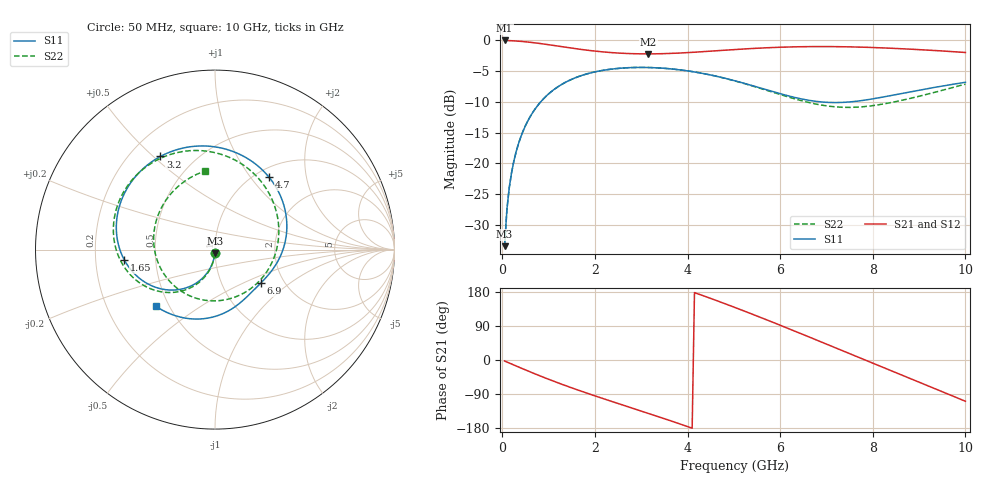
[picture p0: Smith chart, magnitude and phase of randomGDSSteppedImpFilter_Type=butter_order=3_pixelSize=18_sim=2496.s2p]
! freq	dB(S11)	phase(S11)	dB(S12)	phase(S12)
!  dB(S21)	phase(S21)	dB(S22)	phase(S22)
!S-par simulation data
#  GHz  S  DB  R 50
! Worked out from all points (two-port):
!   200 points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, 50 MHz to 10 GHz, reference 50 ohm
!   highest |S21| = 0.00 dB at 50 MHz (marker M1); lowest = -2.2 dB at 3.15 GHz (marker M2)
!   |S21| within 3 dB of the highest: start of sweep to end of sweep
!   lowest |S11| = -33.5 dB at 50 MHz (marker M3), VSWR 1.04, Z = 49.9 - j2.11 ohm
!   |S11| at or under -10 dB: start of sweep to 829.4 MHz; 6.88 GHz to 7.51 GHz (630.3 MHz wide, 8.76 % of centre)
!   |S22| runs from -33.5 to -4.4 dB; largest |S21 - S12| = 0
!   S11 on the Smith chart (normalised r, x): 50 MHz: 1.00, -0.04; 1.65 GHz: 0.33, -0.05; 3.2 GHz: 0.32, +0.53; 4.7 GHz: 1.14, +1.24; 6.9 GHz: 1.52, -0.63; 10 GHz: 0.42, -0.34
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0.05  -33.47 -92.8  -0.00 -2.7  -0.00 -2.7  -33.45 -92.7
0.1  -27.47 -95.7  -0.01 -5.3  -0.01 -5.3  -27.47 -95.5
0.2  -21.52 -101.4  -0.05 -10.6  -0.05 -10.6  -21.51 -100.7
0.45  -14.73 -115.0  -0.18 -23.6  -0.18 -23.6  -14.71 -113.4
1.05  -8.38 -145.6  -0.75 -53.2  -0.75 -53.2  -8.38 -141.9
1.65  -5.87 -173.6  -1.41 -80.0  -1.41 -80.0  -5.86 -167.7
1.75  -5.62 -178.0  -1.51 -84.3  -1.51 -84.3  -5.61 -171.7
2.4  -4.63 154.1  -2.00 -110.8  -2.00 -110.8  -4.63 163.1
3.15  -4.40 122.5  -2.19 -140.6  -2.19 -140.6  -4.40 135.2
3.2  -4.42 120.3  -2.19 -142.7  -2.19 -142.7  -4.41 133.4
3.4  -4.49 111.8  -2.17 -150.7  -2.17 -150.7  -4.48 125.9
4.1  -5.07 80.9  -1.94 -180.0  -1.94 -180.0  -5.06 98.8
4.7  -5.96 53.4  -1.64 153.5  -1.64 153.5  -5.96 74.1
5.05  -6.62 37.2  -1.47 137.4  -1.47 137.4  -6.64 58.8
5.9  -8.45 -0.5  -1.13 96.7  -1.13 96.7  -8.57 17.5
6.3  -9.25 -16.2  -1.04 77.0  -1.04 77.0  -9.47 -4.8
6.7  -9.84 -30.1  -1.00 57.0  -1.00 57.0  -10.24 -29.5
6.9  -10.01 -36.5  -1.00 47.0  -1.00 47.0  -10.53 -42.7
7.65  -9.89 -58.6  -1.07 9.3  -1.07 9.3  -10.86 -96.1
8.35  -9.02 -80.0  -1.25 -26.0  -1.25 -26.0  -10.17 -147.5
9.2  -7.82 -108.2  -1.58 -68.6  -1.58 -68.6  -8.71 151.9
10  -6.81 -136.5  -1.96 -108.9  -1.96 -108.9  -7.11 97.2
